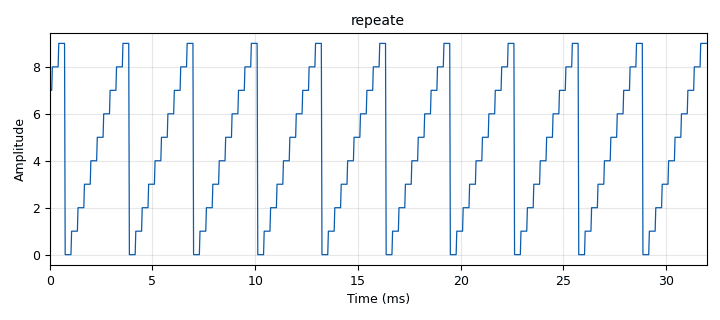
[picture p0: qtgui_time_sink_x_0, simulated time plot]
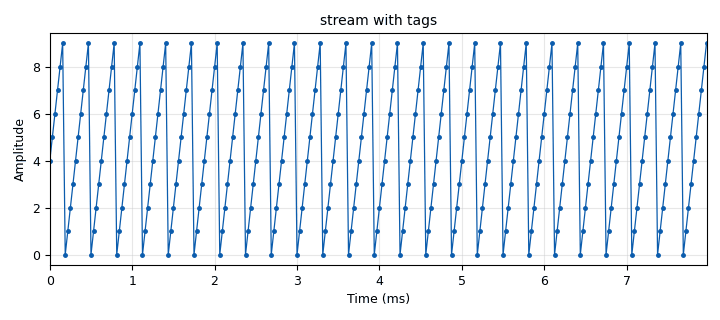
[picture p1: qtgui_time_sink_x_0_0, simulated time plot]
options:
  parameters:
    author: wcc
    generate_options: qt_gui
    id: lab1_stream_tag
    output_language: python
    title: lab1_stream_tag
  states: {}

blocks:
- name: samp_rate
  id: variable
  parameters:
    value: '32000'
  states: {}
- name: blocks_add_xx_0
  id: blocks_add_xx
  parameters:
    type: float
  states: {}
- name: blocks_repeat_0
  id: blocks_repeat
  parameters:
    interp: '10'
    type: float
  states: {}
- name: blocks_tags_strobe_0
  id: blocks_tags_strobe
  parameters:
    key: pmt.intern("strobe")
    nsamps: '10'
    type: float
    value: pmt.intern("TEST")
  states: {}
- name: blocks_throttle_0
  id: blocks_throttle
  parameters:
    samples_per_second: samp_rate
    type: float
  states: {}
- name: blocks_vector_source_x_0
  id: blocks_vector_source_x
  parameters:
    repeat: 'True'
    type: float
    vector: range(10)
  states: {}
- name: qtgui_time_sink_x_0
  id: qtgui_time_sink_x
  parameters:
    autoscale: 'True'
    name: repeate
    size: '1024'
    srate: samp_rate
    type: float
  states: {}
- name: qtgui_time_sink_x_0_0
  id: qtgui_time_sink_x
  parameters:
    autoscale: 'True'
    marker1: '0'
    name: stream with tags
    size: '256'
    srate: samp_rate
    type: float
  states: {}

connections:
- [blocks_add_xx_0, '0', blocks_throttle_0, '0']
- [blocks_add_xx_0, '0', qtgui_time_sink_x_0_0, '0']
- [blocks_repeat_0, '0', qtgui_time_sink_x_0, '0']
- [blocks_tags_strobe_0, '0', blocks_add_xx_0, '1']
- [blocks_throttle_0, '0', blocks_repeat_0, '0']
- [blocks_vector_source_x_0, '0', blocks_add_xx_0, '0']

metadata:
  file_format: 1
